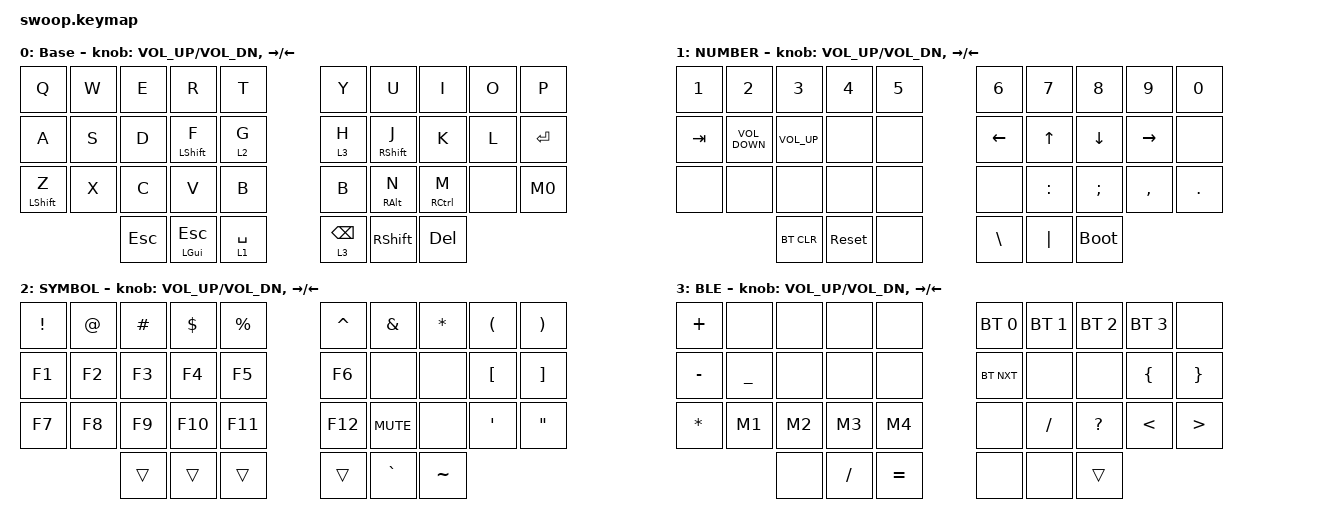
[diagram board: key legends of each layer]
/*
 * Copyright (c) 2020 duckyb
 *
 * SPDX-License-Identifier: MIT
 */

#include <behaviors.dtsi>
#include <dt-bindings/zmk/bt.h>
#include <dt-bindings/zmk/keys.h>

/ {
    behaviors {
        tab_esc_ctrl: tab_esc_ctrl {
            compatible = "zmk,behavior-tap-dance";
            label = "TAB_ESC_CTRL";
            #binding-cells = <0>;
            bindings = <&mt LCTRL ESC>, <&kp TAB>;
        };

        gqt: global-quick-tap {
            compatible = "zmk,behavior-hold-tap";
            label = "GLOBAL_QUICK_TAP";
            bindings = <&kp>, <&kp>;

            #binding-cells = <2>;
            quick-tap-ms = <180>;
            tapping-term-ms = <180>;
            global-quick-tap;
            flavor = "tap-preferred";
        };

        ltq: ltq {
            compatible = "zmk,behavior-hold-tap";
            label = "LTQ";
            bindings = <&mo>, <&kp>;

            #binding-cells = <2>;
            global-quick-tap;
            tapping-term-ms = <200>;
            quick-tap-ms = <180>;
        };
    };

    combos {
        compatible = "zmk,combos";

        left_bkt {
            bindings = <&kp LBKT>;
            key-positions = <3 2>;
            timeout-ms = <50>;
        };

        right_bkt {
            bindings = <&kp RBKT>;
            key-positions = <6 7>;
            timeout-ms = <50>;
        };

        left_par {
            bindings = <&kp LEFT_PARENTHESIS>;
            key-positions = <12 13>;
            timeout-ms = <50>;
        };

        right_par {
            bindings = <&kp RIGHT_PARENTHESIS>;
            key-positions = <16 17>;
            timeout-ms = <50>;
        };

        left_brace {
            bindings = <&kp LEFT_BRACE>;
            key-positions = <23 22>;
            timeout-ms = <50>;
        };

        right_brace {
            bindings = <&kp RIGHT_BRACE>;
            key-positions = <26 27>;
            timeout-ms = <50>;
        };

        bac {
            bindings = <&kp BACKSLASH>;
            key-positions = <4 5>;
        };

        pipe {
            bindings = <&kp PIPE>;
            key-positions = <14 15>;
        };
    };

    macros {
        M0: M0 {
            compatible = "zmk,behavior-macro";
            #binding-cells = <0>;
            bindings =
                <&macro_press>,
                <&kp RCTRL>,
                <&macro_tap>,
                <&kp SPACE>,
                <&macro_release>,
                <&kp RCTRL>;

            label = "M0";
        };

        M1: M1 {
            compatible = "zmk,behavior-macro";
            #binding-cells = <0>;
            bindings = <&kp L &kp A &kp N &kp R &kp U &kp M &kp E &kp N &kp G>;
            label = "M1";
        };

        M2: M2 {
            compatible = "zmk,behavior-macro";
            #binding-cells = <0>;
            bindings = <&kp LS(M) &kp S &kp C &kp N5 &kp N8 &kp N7 &kp N0 &kp N7 &kp N0 &kp N2 &kp M &kp W>;
            label = "M2";
        };

        M3: M3 {
            compatible = "zmk,behavior-macro";
            #binding-cells = <0>;
            bindings = <&kp N5 &kp N8 &kp N7 &kp N0 &kp N7 &kp N0 &kp N2 &kp M &kp S &kp C>;
            label = "M3";
        };

        M4: M4 {
            compatible = "zmk,behavior-macro";
            #binding-cells = <0>;
            bindings = <&kp LS(M) &kp S &kp C &kp N5 &kp N8 &kp N7 &kp N0 &kp N7 &kp N0 &kp N2 &kp EXCL>;
            label = "M4";
        };
    };

    keymap {
        compatible = "zmk,keymap";

        base {
            label = "Base";
            bindings = <
&kp Q          &kp W  &kp E       &kp R              &kp T          &kp Y            &kp U               &kp I         &kp O  &kp P
&kp A          &kp S  &kp D       &gqt LEFT_SHIFT F  &lt 2 G        &lt 3 H          &gqt RIGHT_SHIFT J  &kp K         &kp L  &kp ENTER
&gqt LSHIFT Z  &kp X  &kp C       &kp V              &kp B          &kp B            &gqt RIGHT_ALT N    &gqt RCTRL M  &none  &M0
                      &kp ESCAPE  &gqt LGUI ESC      &lt 1 SPACE    &lt 3 BACKSPACE  &kp RSHIFT          &kp DEL
            >;

            sensor-bindings = <&inc_dec_kp C_VOL_UP C_VOL_DN &inc_dec_kp RIGHT LEFT>;
        };

        number {
            label = "NUMBER";
            bindings = <
&kp N1   &kp N2             &kp N3        &kp N4      &kp N5    &kp N6         &kp N7     &kp N8         &kp N9     &kp N0
&kp TAB  &kp C_VOLUME_DOWN  &kp C_VOL_UP  &none       &none     &kp LEFT       &kp UP     &kp DOWN       &kp RIGHT  &none
&none    &none              &none         &none       &none     &none          &kp COLON  &kp SEMICOLON  &kp COMMA  &kp DOT
                            &bt BT_CLR    &sys_reset  &none     &kp BACKSLASH  &kp PIPE   &bootloader
            >;

            sensor-bindings = <&inc_dec_kp C_VOL_UP C_VOL_DN &inc_dec_kp RIGHT LEFT>;
        };

        symbol {
            label = "SYMBOL";
            bindings = <
&kp EXCLAMATION  &kp AT  &kp HASH  &kp DOLLAR  &kp PERCENT    &kp CARET  &kp AMPERSAND  &kp ASTERISK  &kp LEFT_PARENTHESIS  &kp RIGHT_PARENTHESIS
&kp F1           &kp F2  &kp F3    &kp F4      &kp F5         &kp F6     &none          &none         &kp LEFT_BRACKET      &kp RIGHT_BRACKET
&kp F7           &kp F8  &kp F9    &kp F10     &kp F11        &kp F12    &kp C_MUTE     &none         &kp SQT               &kp DOUBLE_QUOTES
                         &trans    &trans      &trans         &trans     &kp GRAVE      &kp TILDE
            >;

            sensor-bindings = <&inc_dec_kp C_VOL_UP C_VOL_DN &inc_dec_kp RIGHT LEFT>;
        };

        ble {
            label = "BLE";
            bindings = <
&kp PLUS      &none           &none  &none     &none        &bt BT_SEL 0  &bt BT_SEL 1  &bt BT_SEL 2  &bt BT_SEL 3    &none
&kp MINUS     &kp UNDERSCORE  &none  &none     &none        &bt BT_NXT    &none         &none         &kp LEFT_BRACE  &kp RIGHT_BRACE
&kp ASTERISK  &M1             &M2    &M3       &M4          &none         &kp FSLH      &kp QUESTION  &kp LESS_THAN   &kp GREATER_THAN
                              &none  &kp FSLH  &kp EQUAL    &none         &none         &trans
            >;

            sensor-bindings = <&inc_dec_kp C_VOL_UP C_VOL_DN &inc_dec_kp RIGHT LEFT>;
        };
    };
};
